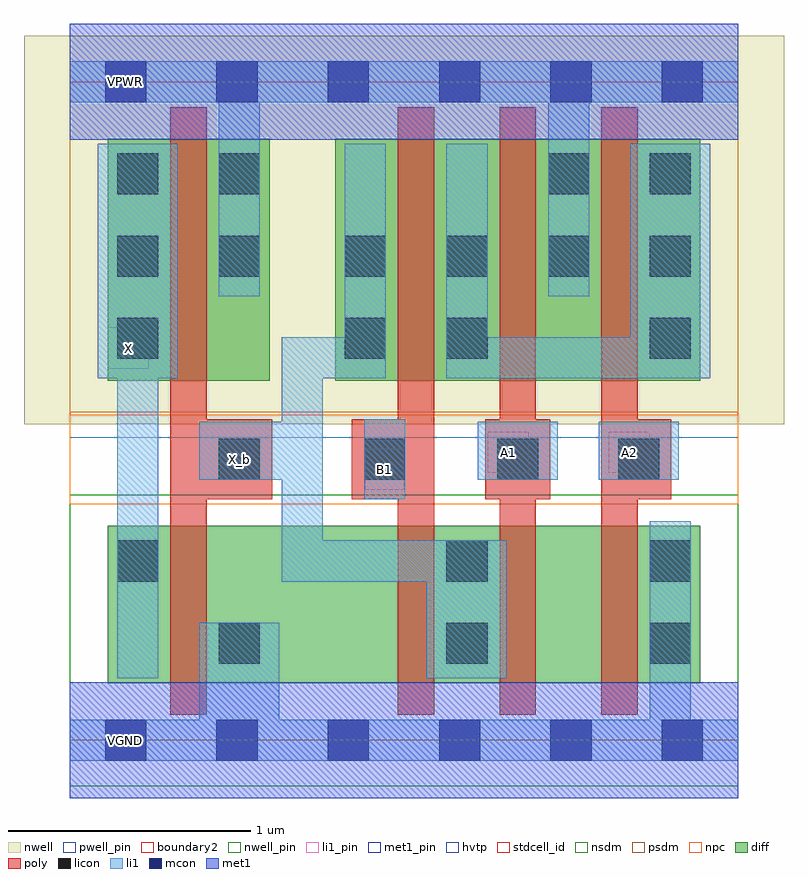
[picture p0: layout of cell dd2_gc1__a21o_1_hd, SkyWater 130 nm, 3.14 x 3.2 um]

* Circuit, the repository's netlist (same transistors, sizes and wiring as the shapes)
.subckt dd2_gc1__a21o_1 A B C VGND VNB VPB VPWR Y
X0 Y_b C VGND VNB sky130_fd_pr__nfet_01v8 w=0.65 l=0.15
X1 Y_b A n1 VNB sky130_fd_pr__nfet_01v8 w=0.65 l=0.15
X2 n1 B VGND VNB sky130_fd_pr__nfet_01v8 w=0.65 l=0.15
X3 Y_b C p1 VPB sky130_fd_pr__pfet_01v8_hvt w=1 l=0.15
X4 p1 A VPWR VPB sky130_fd_pr__pfet_01v8_hvt w=1 l=0.15
X5 p1 B VPWR VPB sky130_fd_pr__pfet_01v8_hvt w=1 l=0.15
X6 Y Y_b VGND VNB sky130_fd_pr__nfet_01v8 w=0.65 l=0.15
X7 Y Y_b VPWR VPB sky130_fd_pr__pfet_01v8_hvt w=1 l=0.15
.ends

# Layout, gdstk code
import gdstk
lib = gdstk.Library(unit=1e-6, precision=1e-09)
def R(c, l, rs):  # rectangles x0, y0, x1, y1
    for r in rs: c.add(gdstk.rectangle(r[:2], r[2:], *l))
def A(c, l, x, y, w, h, nx, ny, dx, dy):  # array of equal rectangles
    R(c, l, [(x+i*dx, y+j*dy, x+i*dx+w, y+j*dy+h) for i in range(nx) for j in range(ny)])
nwell_pin = (64, 16)
nwell = (64, 20)
diff = (65, 20)
poly = (66, 20)
licon = (66, 44)
li1_pin = (67, 16)
li1 = (67, 20)
mcon = (67, 44)
met1_pin = (68, 16)
met1 = (68, 20)
hvtp = (78, 44)
stdcell_id = (81, 4)
nsdm = (93, 44)
psdm = (94, 20)
npc = (95, 20)
pwell_pin = (122, 16)
boundary2 = (236, 0)

dd2_gc1__a21o_1_hd = lib.new_cell('dd2_gc1__a21o_1_hd')
R(dd2_gc1__a21o_1_hd, nwell_pin, [(0.145,2.635,0.315,2.805)])
R(dd2_gc1__a21o_1_hd, nwell, [(-0.19,1.305,2.95,2.91)])
R(dd2_gc1__a21o_1_hd, diff, [(0.155,0.235,2.605,0.885), (0.155,1.485,0.825,2.485), (1.095,1.485,2.605,2.485)])
A(dd2_gc1__a21o_1_hd, poly, 1.355, 0.105, 0.15, 2.51, 3, 1, 0.42, 0)
R(dd2_gc1__a21o_1_hd, poly, [(0.415,0.105,0.565,2.615), (0.415,0.995,0.835,1.325), (1.165,0.995,1.505,1.325), (1.715,0.995,1.985,1.325), (2.195,0.995,2.485,1.325)])
A(dd2_gc1__a21o_1_hd, licon, 0.195, 1.575, 0.17, 0.17, 1, 3, 0, 0.34)
A(dd2_gc1__a21o_1_hd, licon, 1.135, 1.915, 0.17, 0.17, 4, 1, 0.42, 0)
R(dd2_gc1__a21o_1_hd, licon, [(0.615,0.315,0.785,0.485), (1.555,0.315,1.725,0.485), (2.395,0.315,2.565,0.485), (0.195,0.655,0.365,0.825), (1.555,0.655,1.725,0.825), (2.395,0.655,2.565,0.825), (0.615,1.075,0.785,1.245), (1.215,1.075,1.385,1.245), (1.765,1.075,1.935,1.245), (2.265,1.075,2.435,1.245), (1.135,1.575,1.305,1.745), (1.555,1.575,1.725,1.745), (2.395,1.575,2.565,1.745), (0.615,1.915,0.785,2.085), (0.615,2.255,0.785,2.425), (1.975,2.255,2.145,2.425), (2.395,2.255,2.565,2.425)])
R(dd2_gc1__a21o_1_hd, li1_pin, [(1.22,1.035,1.38,1.205), (1.725,1.105,1.895,1.275), (2.225,1.105,2.395,1.275), (0.155,1.535,0.325,1.705)])
R(dd2_gc1__a21o_1_hd, li1, [(0,-0.085,2.76,0.085), (0.535,-0.085,0.865,0.485), (2.395,-0.085,2.565,0.905), (0.195,0.255,0.365,0.905), (1.475,0.255,1.805,0.825), (0.875,0.655,1.805,0.825), (0.875,0.815,1.045,1.505), (0.195,0.895,0.365,1.505), (1.215,0.995,1.385,1.325), (0.535,1.075,0.865,1.315), (0.7,1.075,0.96,1.315), (1.685,1.075,2.015,1.315), (2.185,1.075,2.515,1.315), (0.115,1.495,0.445,2.465), (0.875,1.495,1.305,1.665), (1.135,1.495,1.305,2.465), (1.555,1.495,1.725,2.465), (1.555,1.495,2.645,1.665), (2.315,1.495,2.645,2.465), (0.615,1.835,0.785,2.805), (1.975,1.835,2.145,2.805), (0,2.635,2.76,2.805)])
A(dd2_gc1__a21o_1_hd, mcon, 0.145, -0.085, 0.17, 0.17, 6, 2, 0.46, 2.72)
R(dd2_gc1__a21o_1_hd, met1_pin, [(0.145,-0.085,0.315,0.085), (0.145,2.635,0.315,2.805)])
R(dd2_gc1__a21o_1_hd, met1, [(0,-0.24,2.76,0.24), (0,2.48,2.76,2.96)])
R(dd2_gc1__a21o_1_hd, hvtp, [(0,1.25,2.76,2.72)])
R(dd2_gc1__a21o_1_hd, stdcell_id, [(0,0,2.76,2.72)])
R(dd2_gc1__a21o_1_hd, nsdm, [(0,-0.19,2.76,1.015)])
R(dd2_gc1__a21o_1_hd, psdm, [(0,1.355,2.76,2.91)])
R(dd2_gc1__a21o_1_hd, npc, [(0,0.975,2.76,1.345)])
R(dd2_gc1__a21o_1_hd, pwell_pin, [(0.145,-0.085,0.315,0.085)])
R(dd2_gc1__a21o_1_hd, boundary2, [(0,0,2.76,2.72)])
dd2_gc1__a21o_1_hd.add(gdstk.Label('X_b', (0.7,1.16), layer=67, texttype=5))
dd2_gc1__a21o_1_hd.add(gdstk.Label('B1', (1.3,1.12), layer=67, texttype=5))
dd2_gc1__a21o_1_hd.add(gdstk.Label('A1', (1.81,1.19), layer=67, texttype=5))
dd2_gc1__a21o_1_hd.add(gdstk.Label('A2', (2.31,1.19), layer=67, texttype=5))
dd2_gc1__a21o_1_hd.add(gdstk.Label('X', (0.24,1.62), layer=67, texttype=5))
dd2_gc1__a21o_1_hd.add(gdstk.Label('VGND', (0.23,0), layer=68, texttype=5))
dd2_gc1__a21o_1_hd.add(gdstk.Label('VPWR', (0.23,2.72), layer=68, texttype=5))
dd2_gc1__a21o_1_hd.add(gdstk.Label('VPB', (0.23,2.72), layer=64, texttype=5))
dd2_gc1__a21o_1_hd.add(gdstk.Label('VNB', (0.23,0), layer=64, texttype=59))

lib.write_gds('dd2_gc1__a21o_1_hd.gds')
